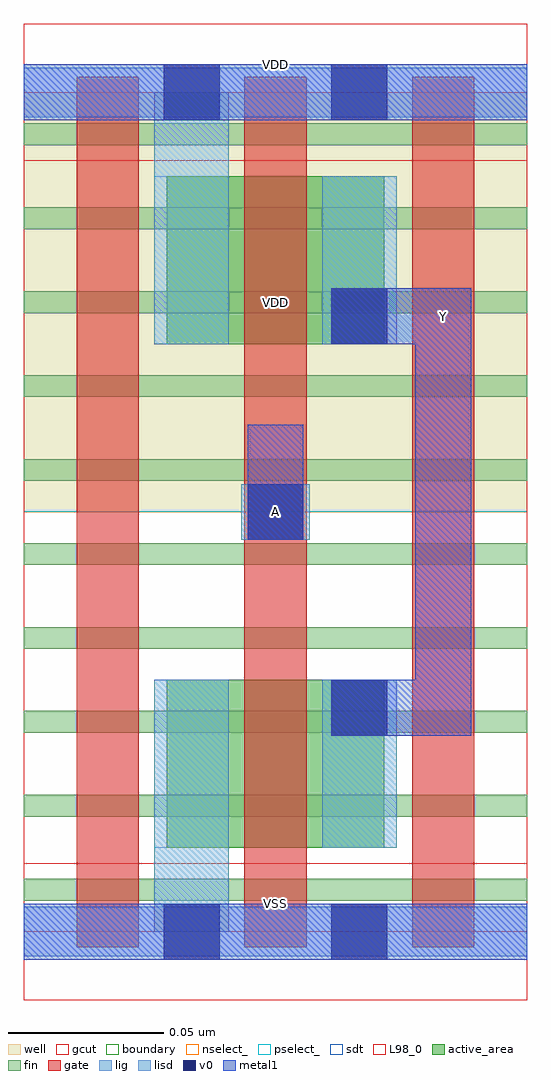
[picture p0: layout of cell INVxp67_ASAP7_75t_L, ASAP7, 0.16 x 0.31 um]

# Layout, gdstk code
import gdstk
lib = gdstk.Library(unit=1e-6, precision=2.5e-10)
def R(c, l, rs):  # rectangles x0, y0, x1, y1
    for r in rs: c.add(gdstk.rectangle(r[:2], r[2:], *l))
def A(c, l, x, y, w, h, nx, ny, dx, dy):  # array of equal rectangles
    R(c, l, [(x+i*dx, y+j*dy, x+i*dx+w, y+j*dy+h) for i in range(nx) for j in range(ny)])
def P(c, l, *ps):  # polygons
    for p in ps: c.add(gdstk.Polygon(p, *l))
well = (1, 0)
fin = (2, 0)
gate = (7, 0)
gcut = (10, 0)
active_area = (11, 0)
nselect_ = (12, 0)
pselect_ = (13, 0)
lig = (16, 0)
lisd = (17, 0)
v0 = (18, 0)
metal1 = (19, 0)
sdt = (88, 0)
L98_0 = (98, 0)
boundary = (100, 0)

invxp67_asap7_75t_l = lib.new_cell('INVxp67_ASAP7_75t_L')
R(invxp67_asap7_75t_l, well, [(0,0.135,0.162,0.27)])
A(invxp67_asap7_75t_l, fin, 0, 0.01, 0.162, 0.007, 1, 10, 0, 0.027)
A(invxp67_asap7_75t_l, gate, 0.017, -0.005, 0.02, 0.28, 3, 1, 0.054, 0)
R(invxp67_asap7_75t_l, gcut, [(0,-0.022,0.162,0.022), (0,0.248,0.162,0.292)])
R(invxp67_asap7_75t_l, active_area, [(0.046,0.027,0.116,0.081), (0.046,0.189,0.116,0.243)])
R(invxp67_asap7_75t_l, nselect_, [(0,0,0.162,0.135)])
R(invxp67_asap7_75t_l, pselect_, [(0,0.135,0.162,0.27)])
R(invxp67_asap7_75t_l, lig, [(0,-0.008,0.162,0.008), (0.07,0.126,0.092,0.144), (0,0.262,0.162,0.278)])
R(invxp67_asap7_75t_l, lisd, [(0.042,0,0.066,0.081), (0.042,0,0.066,0.081), (0.096,0.027,0.12,0.081), (0.042,0.189,0.066,0.27), (0.042,0.189,0.066,0.27), (0.096,0.189,0.12,0.243)])
R(invxp67_asap7_75t_l, v0, [(0.045,-0.009,0.063,0.009), (0.099,-0.009,0.117,0.009), (0.099,0.063,0.117,0.081), (0.072,0.126,0.09,0.144), (0.099,0.189,0.117,0.207), (0.045,0.261,0.063,0.279), (0.099,0.261,0.117,0.279)])
R(invxp67_asap7_75t_l, metal1, [(0,-0.009,0.162,0.009), (0.099,0.063,0.117,0.081), (0.072,0.126,0.09,0.144), (0.072,0.126,0.09,0.163), (0.099,0.189,0.117,0.207), (0,0.261,0.162,0.279)])
P(invxp67_asap7_75t_l, metal1, [(0.099,0.207),(0.099,0.189),(0.126,0.189),(0.126,0.081),(0.099,0.081),(0.099,0.063),(0.144,0.063),(0.144,0.207)])
R(invxp67_asap7_75t_l, sdt, [(0.042,0.027,0.066,0.081), (0.042,0.027,0.066,0.081), (0.096,0.027,0.12,0.081), (0.042,0.189,0.066,0.243), (0.042,0.189,0.066,0.243), (0.096,0.189,0.12,0.243)])
R(invxp67_asap7_75t_l, L98_0, [(0,0,0.162,0.27)])
R(invxp67_asap7_75t_l, boundary, [(0,0,0.162,0.27)])
invxp67_asap7_75t_l.add(gdstk.Label('VDD', (0.081,0.2025), layer=1, texttype=251))
invxp67_asap7_75t_l.add(gdstk.Label('VSS', (0.081,-0.0675), layer=3, texttype=251))
invxp67_asap7_75t_l.add(gdstk.Label('VSS', (0.081,0.009), layer=19, texttype=251))
invxp67_asap7_75t_l.add(gdstk.Label('VDD', (0.081,0.279), layer=19, texttype=251))
invxp67_asap7_75t_l.add(gdstk.Label('Y', (0.135,0.198), layer=19, texttype=251))
invxp67_asap7_75t_l.add(gdstk.Label('A', (0.081,0.135), layer=19, texttype=251))

lib.write_gds('INVxp67_ASAP7_75t_L.gds')
